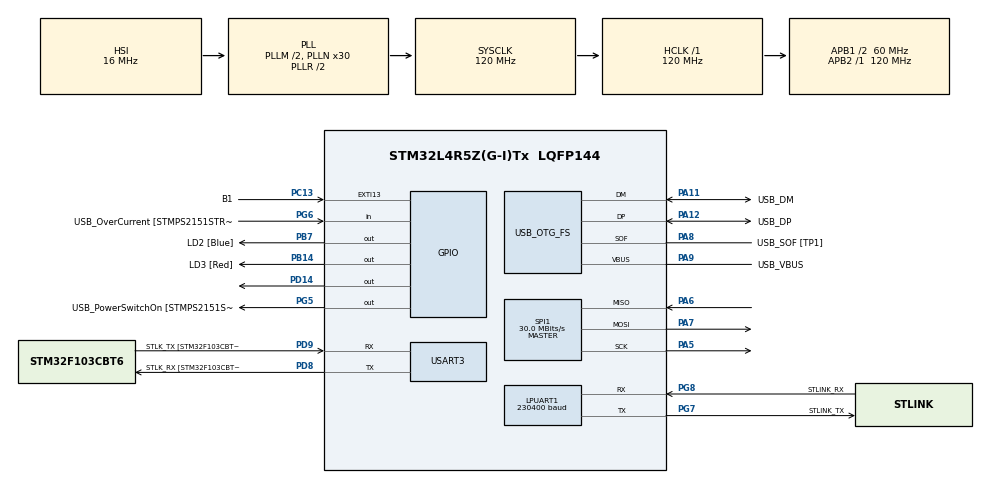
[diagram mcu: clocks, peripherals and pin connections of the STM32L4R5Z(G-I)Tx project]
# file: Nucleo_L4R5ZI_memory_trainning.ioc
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Dma.LPUART1_RX.0.Direction=DMA_PERIPH_TO_MEMORY
Dma.LPUART1_RX.0.EventEnable=DISABLE
Dma.LPUART1_RX.0.Instance=DMA1_Channel1
Dma.LPUART1_RX.0.MemDataAlignment=DMA_MDATAALIGN_BYTE
Dma.LPUART1_RX.0.MemInc=DMA_MINC_ENABLE
Dma.LPUART1_RX.0.Mode=DMA_NORMAL
Dma.LPUART1_RX.0.PeriphDataAlignment=DMA_PDATAALIGN_BYTE
Dma.LPUART1_RX.0.PeriphInc=DMA_PINC_DISABLE
Dma.LPUART1_RX.0.Polarity=HAL_DMAMUX_REQUEST_GEN_RISING
Dma.LPUART1_RX.0.Priority=DMA_PRIORITY_LOW
Dma.LPUART1_RX.0.RequestNumber=1
Dma.LPUART1_RX.0.SignalID=NONE
Dma.LPUART1_RX.0.SyncEnable=DISABLE
Dma.LPUART1_RX.0.SyncPolarity=HAL_DMAMUX_SYNC_NO_EVENT
Dma.LPUART1_RX.0.SyncRequestNumber=1
Dma.LPUART1_RX.0.SyncSignalID=NONE
Dma.Request0=LPUART1_RX
LPUART1.BaudRate=230400
LPUART1.WordLength=UART_WORDLENGTH_8B
Mcu.Family=STM32L4
Mcu.Name=STM32L4R5Z(G-I)Tx
Mcu.Package=LQFP144
NVIC.DMA1_Channel1_IRQn=true\:0\:0\:false\:false\:true\:false\:true
NVIC.PriorityGroup=NVIC_PRIORITYGROUP_4
PA10.GPIO_Label=USB_ID
PA10.Signal=USB_OTG_FS_ID
PA11.GPIO_Label=USB_DM
PA11.Mode=Device_Only
PA11.Signal=USB_OTG_FS_DM
PA12.GPIO_Label=USB_DP
PA12.Mode=Device_Only
PA12.Signal=USB_OTG_FS_DP
PA13\ (JTMS/SWDIO).GPIO_Label=TMS
PA13\ (JTMS/SWDIO).Mode=Trace_Asynchronous_SW
PA13\ (JTMS/SWDIO).Signal=SYS_JTMS-SWDIO
PA14\ (JTCK/SWCLK).GPIO_Label=TCK
PA14\ (JTCK/SWCLK).Mode=Trace_Asynchronous_SW
PA14\ (JTCK/SWCLK).Signal=SYS_JTCK-SWCLK
PA5.Mode=Full_Duplex_Master
PA5.Signal=SPI1_SCK
PA6.Mode=Full_Duplex_Master
PA6.Signal=SPI1_MISO
PA7.Mode=Full_Duplex_Master
PA7.Signal=SPI1_MOSI
PA8.GPIO_Label=USB_SOF [TP1]
PA8.Mode=Activate_SOF_FS
PA8.Signal=USB_OTG_FS_SOF
PA9.GPIO_Label=USB_VBUS
PA9.Mode=Activate_VBUS
PA9.Signal=USB_OTG_FS_VBUS
PB14.GPIO_Label=LD3 [Red]
PB14.Signal=GPIO_Output
PB3\ (JTDO/TRACESWO).GPIO_Label=SWO
PB3\ (JTDO/TRACESWO).Mode=Trace_Asynchronous_SW
PB3\ (JTDO/TRACESWO).Signal=SYS_JTDO-SWO
PB7.GPIO_Label=LD2 [Blue]
PB7.Signal=GPIO_Output
PC13.GPIO_Label=B1
PC13.Signal=GPXTI13
PC14-OSC32_IN\ (PC14).Mode=LSE-External-Oscillator
PC14-OSC32_IN\ (PC14).Signal=RCC_OSC32_IN
PC15-OSC32_OUT\ (PC15).Mode=LSE-External-Oscillator
PC15-OSC32_OUT\ (PC15).Signal=RCC_OSC32_OUT
PD14.Signal=GPIO_Output
PD8.GPIO_Label=STLK_RX [STM32F103CBT6_PA3]
PD8.Mode=Asynchronous
PD8.Signal=USART3_TX
PD9.GPIO_Label=STLK_TX [STM32F103CBT6_PA2]
PD9.Mode=Asynchronous
PD9.Signal=USART3_RX
PG5.GPIO_Label=USB_PowerSwitchOn [STMPS2151STR_EN]
PG5.Signal=GPIO_Output
PG6.GPIO_Label=USB_OverCurrent [STMPS2151STR_FAULT]
PG6.Signal=GPIO_Input
PG7.GPIO_Label=STLINK_TX
PG7.Mode=Asynchronous
PG7.Signal=LPUART1_TX
PG8.GPIO_Label=STLINK_RX
PG8.Mode=Asynchronous
PG8.Signal=LPUART1_RX
PH0-OSC_IN\ (PH0).Signal=RCC_OSC_IN
PH1-OSC_OUT\ (PH1).Signal=RCC_OSC_OUT
ProjectManager.HeapSize=0x200
ProjectManager.StackSize=0x400
ProjectManager.TargetToolchain=STM32CubeIDE
RCC.48MHZClocksFreq_Value=24000000
RCC.ADCFreq_Value=96000000
RCC.AHBFreq_Value=120000000
RCC.APB1CLKDivider=RCC_HCLK_DIV2
RCC.APB1Freq_Value=60000000
RCC.APB1TimFreq_Value=120000000
RCC.APB2Freq_Value=120000000
RCC.APB2TimFreq_Value=120000000
RCC.CK48CLockSelection=RCC_USBCLKSOURCE_HSI48
RCC.CortexFreq_Value=120000000
RCC.HCLKFreq_Value=120000000
RCC.HSE_VALUE=8000000
RCC.HSI48_VALUE=48000000
RCC.HSI_VALUE=16000000
RCC.MSI_VALUE=4000000
RCC.PLLM1=2
RCC.PLLMUL=RCC_PLL_MUL9
RCC.PLLN=30
RCC.PLLSAI1N=12
RCC.PLLSourceVirtual=RCC_PLLSOURCE_HSI
RCC.PRESCALERUSB=RCC_USBCLKSOURCE_PLL_DIV1_5
RCC.SYSCLKFreq_VALUE=120000000
RCC.SYSCLKSource=RCC_SYSCLKSOURCE_PLLCLK
RCC.SYSCLKSourceVirtual=RCC_SYSCLKSOURCE_PLLCLK
RCC.USBFreq_Value=48000000
RCC.VCOOutputFreq_Value=240000000
SPI1.BaudRatePrescaler=SPI_BAUDRATEPRESCALER_4
SPI1.CalculateBaudRate=30.0 MBits/s
SPI1.DataSize=SPI_DATASIZE_8BIT
SPI1.Direction=SPI_DIRECTION_2LINES
SPI1.Mode=SPI_MODE_MASTER
SPI1.VirtualType=VM_MASTER
USART3.VirtualMode-Asynchronous=VM_ASYNC
USB_OTG_FS.VirtualMode=Device_Only
board=NUCLEO-L4R5ZI

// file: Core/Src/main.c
/* USER CODE BEGIN Header */
/**
  ******************************************************************************
  * @file           : main.c
  * @brief          : Main program body
  ******************************************************************************
  * @attention
  *
  * <h2><center>&copy; Copyright (c) 2021 STMicroelectronics.
  * All rights reserved.</center></h2>
  *
  * This software component is licensed by ST under BSD 3-Clause license,
  * the "License"; You may not use this file except in compliance with the
  * License. You may obtain a copy of the License at:
  *                        opensource.org/licenses/BSD-3-Clause
  *
  ******************************************************************************
  */
/* USER CODE END Header */
#include "main.h"

UART_HandleTypeDef hlpuart1;
UART_HandleTypeDef huart3;
DMA_HandleTypeDef hdma_lpuart1_rx;

SPI_HandleTypeDef hspi1;

PCD_HandleTypeDef hpcd_USB_OTG_FS;

/* USER CODE BEGIN PV */

//some memory opcodes
const uint8_t FLASH_READ = 0x03;
const uint8_t FLASH_WRITE = 0x02;
const uint8_t FLASH_WREN = 0x06;
const uint8_t FLASH_WRDI = 0x04;
const uint8_t FLASH_ER4 = 0x20;
const uint8_t FLASH_ER32 = 0x52;
const uint8_t FLASH_ER64 = 0xd8;
const uint8_t FLASH_ERCP = 0xC7;
const uint8_t FLASH_STATREG1 = 0X05;

/* USER CODE END PV */

void SystemClock_Config(void);
static void MX_GPIO_Init(void);
static void MX_DMA_Init(void);
static void MX_LPUART1_UART_Init(void);
static void MX_USART3_UART_Init(void);
static void MX_USB_OTG_FS_PCD_Init(void);
static void MX_SPI1_Init(void);

/* USER CODE BEGIN 0 */

// You can put your buffers here, I'll get you started
uint8_t UART1_rxBuffer[160] = {0};
uint8_t SPI_txBuffer[128] = {0};
uint8_t SPI_rxBuffer[128] = {0};

/* USER CODE END 0 */

int main(void)
{
  /* USER CODE BEGIN 1 */

	//Write your code here!

  /* USER CODE END 1 */

  /* MCU Configuration--------------------------------------------------------*/

  /* Reset of all peripherals, Initializes the Flash interface and the Systick. */
  HAL_Init();

  /* Configure the system clock */
  SystemClock_Config();

  /* Initialize all configured peripherals */
  MX_GPIO_Init();
  MX_DMA_Init();
  MX_LPUART1_UART_Init();
  MX_USART3_UART_Init();
  MX_USB_OTG_FS_PCD_Init();
  MX_SPI1_Init();
  /* USER CODE BEGIN 2 */
  HAL_GPIO_WritePin(GPIOB, GPIO_PIN_14, GPIO_PIN_SET);

  //start UART DMA, change buffer name if you want
  HAL_UART_Receive_DMA(&hlpuart1, UART1_rxBuffer, 160);

  /*
   Code here! You should:

   Probably write something to uart to convince your self that it works.
   Trigger python script to send simulator data*/
    UART1_rxBuffer[0] = 3;
    UART1_rxBuffer[1] = 1;
    UART1_rxBuffer[2] = 4;
	HAL_UART_Transmit(&hlpuart1, (uint8_t *)UART1_rxBuffer, strlen((char*)UART1_rxBuffer), 160);

	/*Erase the memory chip (via SPI), you can do the entire thing, or part of it

   Transmit [0, 0, 0] (in byte form) over hlpuart1, this will begin the test data transmission.

   The Python script will receive this and then you will need to go to the bottom and write code in
   void HAL_UART_RxCpltCallback(UART_HandleTypeDef *hlpuart1) to receive the transmitted data

   */
	SPI_rxBuffer[0] = FLASH_ERCP;
  /* USER CODE END 2 */

  /* Infinite loop */
  while (1)
  {

	  //Don't bother putting the stuff into a loop, just do it in main()

  }
}

void SystemClock_Config(void)
{
  RCC_OscInitTypeDef RCC_OscInitStruct = {0};
  RCC_ClkInitTypeDef RCC_ClkInitStruct = {0};
  RCC_PeriphCLKInitTypeDef PeriphClkInit = {0};

  /** Configure the main internal regulator output voltage
  */
  if (HAL_PWREx_ControlVoltageScaling(PWR_REGULATOR_VOLTAGE_SCALE1_BOOST) != HAL_OK)
  {
    Error_Handler();
  }
  /** Initializes the RCC Oscillators according to the specified parameters
  * in the RCC_OscInitTypeDef structure.
  */
  RCC_OscInitStruct.OscillatorType = RCC_OSCILLATORTYPE_HSI48|RCC_OSCILLATORTYPE_HSI;
  RCC_OscInitStruct.HSIState = RCC_HSI_ON;
  RCC_OscInitStruct.HSI48State = RCC_HSI48_ON;
  RCC_OscInitStruct.HSICalibrationValue = RCC_HSICALIBRATION_DEFAULT;
  RCC_OscInitStruct.PLL.PLLState = RCC_PLL_ON;
  RCC_OscInitStruct.PLL.PLLSource = RCC_PLLSOURCE_HSI;
  RCC_OscInitStruct.PLL.PLLM = 2;
  RCC_OscInitStruct.PLL.PLLN = 30;
  RCC_OscInitStruct.PLL.PLLP = RCC_PLLP_DIV2;
  RCC_OscInitStruct.PLL.PLLQ = RCC_PLLQ_DIV2;
  RCC_OscInitStruct.PLL.PLLR = RCC_PLLR_DIV2;
  if (HAL_RCC_OscConfig(&RCC_OscInitStruct) != HAL_OK)
  {
    Error_Handler();
  }
  /** Initializes the CPU, AHB and APB buses clocks
  */
  RCC_ClkInitStruct.ClockType = RCC_CLOCKTYPE_HCLK|RCC_CLOCKTYPE_SYSCLK
                              |RCC_CLOCKTYPE_PCLK1|RCC_CLOCKTYPE_PCLK2;
  RCC_ClkInitStruct.SYSCLKSource = RCC_SYSCLKSOURCE_PLLCLK;
  RCC_ClkInitStruct.AHBCLKDivider = RCC_SYSCLK_DIV1;
  RCC_ClkInitStruct.APB1CLKDivider = RCC_HCLK_DIV2;
  RCC_ClkInitStruct.APB2CLKDivider = RCC_HCLK_DIV1;

  if (HAL_RCC_ClockConfig(&RCC_ClkInitStruct, FLASH_LATENCY_5) != HAL_OK)
  {
    Error_Handler();
  }
  PeriphClkInit.PeriphClockSelection = RCC_PERIPHCLK_USART3|RCC_PERIPHCLK_LPUART1
                              |RCC_PERIPHCLK_USB;
  PeriphClkInit.Usart3ClockSelection = RCC_USART3CLKSOURCE_PCLK1;
  PeriphClkInit.Lpuart1ClockSelection = RCC_LPUART1CLKSOURCE_PCLK1;
  PeriphClkInit.UsbClockSelection = RCC_USBCLKSOURCE_HSI48;
  if (HAL_RCCEx_PeriphCLKConfig(&PeriphClkInit) != HAL_OK)
  {
    Error_Handler();
  }
}

static void MX_LPUART1_UART_Init(void)
{

  hlpuart1.Instance = LPUART1;
  hlpuart1.Init.BaudRate = 230400;
  hlpuart1.Init.WordLength = UART_WORDLENGTH_8B;
  hlpuart1.Init.StopBits = UART_STOPBITS_1;
  hlpuart1.Init.Parity = UART_PARITY_NONE;
  hlpuart1.Init.Mode = UART_MODE_TX_RX;
  hlpuart1.Init.HwFlowCtl = UART_HWCONTROL_NONE;
  hlpuart1.Init.OneBitSampling = UART_ONE_BIT_SAMPLE_DISABLE;
  hlpuart1.Init.ClockPrescaler = UART_PRESCALER_DIV1;
  hlpuart1.AdvancedInit.AdvFeatureInit = UART_ADVFEATURE_NO_INIT;
  hlpuart1.FifoMode = UART_FIFOMODE_DISABLE;
  if (HAL_UART_Init(&hlpuart1) != HAL_OK)
  {
    Error_Handler();
  }
  if (HAL_UARTEx_SetTxFifoThreshold(&hlpuart1, UART_TXFIFO_THRESHOLD_1_8) != HAL_OK)
  {
    Error_Handler();
  }
  if (HAL_UARTEx_SetRxFifoThreshold(&hlpuart1, UART_RXFIFO_THRESHOLD_1_8) != HAL_OK)
  {
    Error_Handler();
  }
  if (HAL_UARTEx_DisableFifoMode(&hlpuart1) != HAL_OK)
  {
    Error_Handler();
  }

}

static void MX_USART3_UART_Init(void)
{

  huart3.Instance = USART3;
  huart3.Init.BaudRate = 115200;
  huart3.Init.WordLength = UART_WORDLENGTH_8B;
  huart3.Init.StopBits = UART_STOPBITS_1;
  huart3.Init.Parity = UART_PARITY_NONE;
  huart3.Init.Mode = UART_MODE_TX_RX;
  huart3.Init.HwFlowCtl = UART_HWCONTROL_NONE;
  huart3.Init.OverSampling = UART_OVERSAMPLING_16;
  huart3.Init.OneBitSampling = UART_ONE_BIT_SAMPLE_DISABLE;
  huart3.Init.ClockPrescaler = UART_PRESCALER_DIV1;
  huart3.AdvancedInit.AdvFeatureInit = UART_ADVFEATURE_NO_INIT;
  if (HAL_UART_Init(&huart3) != HAL_OK)
  {
    Error_Handler();
  }
  if (HAL_UARTEx_SetTxFifoThreshold(&huart3, UART_TXFIFO_THRESHOLD_1_8) != HAL_OK)
  {
    Error_Handler();
  }
  if (HAL_UARTEx_SetRxFifoThreshold(&huart3, UART_RXFIFO_THRESHOLD_1_8) != HAL_OK)
  {
    Error_Handler();
  }
  if (HAL_UARTEx_DisableFifoMode(&huart3) != HAL_OK)
  {
    Error_Handler();
  }

}

static void MX_SPI1_Init(void)
{

  /* SPI1 parameter configuration*/
  hspi1.Instance = SPI1;
  hspi1.Init.Mode = SPI_MODE_MASTER;
  hspi1.Init.Direction = SPI_DIRECTION_2LINES;
  hspi1.Init.DataSize = SPI_DATASIZE_8BIT;
  hspi1.Init.CLKPolarity = SPI_POLARITY_LOW;
  hspi1.Init.CLKPhase = SPI_PHASE_1EDGE;
  hspi1.Init.NSS = SPI_NSS_SOFT;
  hspi1.Init.BaudRatePrescaler = SPI_BAUDRATEPRESCALER_4;
  hspi1.Init.FirstBit = SPI_FIRSTBIT_MSB;
  hspi1.Init.TIMode = SPI_TIMODE_DISABLE;
  hspi1.Init.CRCCalculation = SPI_CRCCALCULATION_DISABLE;
  hspi1.Init.CRCPolynomial = 7;
  hspi1.Init.CRCLength = SPI_CRC_LENGTH_DATASIZE;
  hspi1.Init.NSSPMode = SPI_NSS_PULSE_ENABLE;
  if (HAL_SPI_Init(&hspi1) != HAL_OK)
  {
    Error_Handler();
  }

}

static void MX_USB_OTG_FS_PCD_Init(void)
{

  hpcd_USB_OTG_FS.Instance = USB_OTG_FS;
  hpcd_USB_OTG_FS.Init.dev_endpoints = 6;
  hpcd_USB_OTG_FS.Init.phy_itface = PCD_PHY_EMBEDDED;
  hpcd_USB_OTG_FS.Init.Sof_enable = ENABLE;
  hpcd_USB_OTG_FS.Init.low_power_enable = DISABLE;
  hpcd_USB_OTG_FS.Init.lpm_enable = DISABLE;
  hpcd_USB_OTG_FS.Init.battery_charging_enable = ENABLE;
  hpcd_USB_OTG_FS.Init.use_dedicated_ep1 = DISABLE;
  hpcd_USB_OTG_FS.Init.vbus_sensing_enable = ENABLE;
  if (HAL_PCD_Init(&hpcd_USB_OTG_FS) != HAL_OK)
  {
    Error_Handler();
  }

}

static void MX_DMA_Init(void)
{

  /* DMA controller clock enable */
  __HAL_RCC_DMAMUX1_CLK_ENABLE();
  __HAL_RCC_DMA1_CLK_ENABLE();

  /* DMA interrupt init */
  /* DMA1_Channel1_IRQn interrupt configuration */
  HAL_NVIC_SetPriority(DMA1_Channel1_IRQn, 0, 0);
  HAL_NVIC_EnableIRQ(DMA1_Channel1_IRQn);

}

static void MX_GPIO_Init(void)
{
  GPIO_InitTypeDef GPIO_InitStruct = {0};

  /* GPIO Ports Clock Enable */
  __HAL_RCC_GPIOC_CLK_ENABLE();
  __HAL_RCC_GPIOH_CLK_ENABLE();
  __HAL_RCC_GPIOA_CLK_ENABLE();
  __HAL_RCC_GPIOB_CLK_ENABLE();
  __HAL_RCC_GPIOD_CLK_ENABLE();
  __HAL_RCC_GPIOG_CLK_ENABLE();
  HAL_PWREx_EnableVddIO2();

  /*Configure GPIO pin Output Level */
  HAL_GPIO_WritePin(GPIOB, LD3_Pin|LD2_Pin, GPIO_PIN_RESET);

  /*Configure GPIO pin Output Level */
  HAL_GPIO_WritePin(GPIOD, GPIO_PIN_14, GPIO_PIN_RESET);

  /*Configure GPIO pin Output Level */
  HAL_GPIO_WritePin(USB_PowerSwitchOn_GPIO_Port, USB_PowerSwitchOn_Pin, GPIO_PIN_RESET);

  /*Configure GPIO pin : B1_Pin */
  GPIO_InitStruct.Pin = B1_Pin;
  GPIO_InitStruct.Mode = GPIO_MODE_IT_RISING;
  GPIO_InitStruct.Pull = GPIO_NOPULL;
  HAL_GPIO_Init(B1_GPIO_Port, &GPIO_InitStruct);

  /*Configure GPIO pins : LD3_Pin LD2_Pin */
  GPIO_InitStruct.Pin = LD3_Pin|LD2_Pin;
  GPIO_InitStruct.Mode = GPIO_MODE_OUTPUT_PP;
  GPIO_InitStruct.Pull = GPIO_NOPULL;
  GPIO_InitStruct.Speed = GPIO_SPEED_FREQ_LOW;
  HAL_GPIO_Init(GPIOB, &GPIO_InitStruct);

  /*Configure GPIO pin : PD14 */
  GPIO_InitStruct.Pin = GPIO_PIN_14;
  GPIO_InitStruct.Mode = GPIO_MODE_OUTPUT_PP;
  GPIO_InitStruct.Pull = GPIO_NOPULL;
  GPIO_InitStruct.Speed = GPIO_SPEED_FREQ_LOW;
  HAL_GPIO_Init(GPIOD, &GPIO_InitStruct);

  /*Configure GPIO pin : USB_PowerSwitchOn_Pin */
  GPIO_InitStruct.Pin = USB_PowerSwitchOn_Pin;
  GPIO_InitStruct.Mode = GPIO_MODE_OUTPUT_PP;
  GPIO_InitStruct.Pull = GPIO_NOPULL;
  GPIO_InitStruct.Speed = GPIO_SPEED_FREQ_LOW;
  HAL_GPIO_Init(USB_PowerSwitchOn_GPIO_Port, &GPIO_InitStruct);

  /*Configure GPIO pin : USB_OverCurrent_Pin */
  GPIO_InitStruct.Pin = USB_OverCurrent_Pin;
  GPIO_InitStruct.Mode = GPIO_MODE_INPUT;
  GPIO_InitStruct.Pull = GPIO_NOPULL;
  HAL_GPIO_Init(USB_OverCurrent_GPIO_Port, &GPIO_InitStruct);

}

/* USER CODE BEGIN 4 */
void HAL_UART_RxCpltCallback(UART_HandleTypeDef *hlpuart1)
{
	/*
	You will add some code here, this function gets called every time the STM gets a UART message
	Data is stored into UART1_rxBuffer

	store this data into the memory module.

	I will remove power from the memory chip in between this step so we know its actually been written.

	read it back out, and send it back to the PC for verification

	*/

    HAL_UART_Receive_DMA(hlpuart1, UART1_rxBuffer, 160);
}
/* USER CODE END 4 */

void Error_Handler(void)
{
  __disable_irq();
  while (1)
  {
  }
}

/************************ (C) COPYRIGHT STMicroelectronics *****END OF FILE****/
